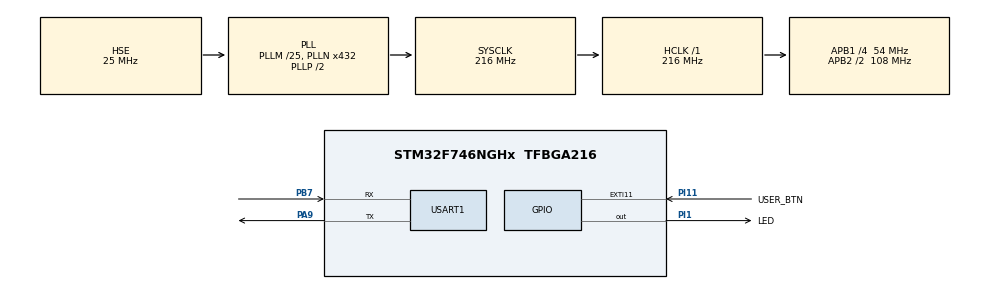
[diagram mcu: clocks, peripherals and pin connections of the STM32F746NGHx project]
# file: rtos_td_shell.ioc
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FREERTOS.Tasks01=defaultTask,0,128,StartDefaultTask,Default,NULL,Dynamic,NULL,NULL
FREERTOS.configCHECK_FOR_STACK_OVERFLOW=1
FREERTOS.configTOTAL_HEAP_SIZE=65535
Mcu.Family=STM32F7
Mcu.Name=STM32F746NGHx
Mcu.Package=TFBGA216
NVIC.PriorityGroup=NVIC_PRIORITYGROUP_4
NVIC.TIM6_DAC_IRQn=true\:15\:0\:false\:false\:true\:false\:false\:true\:true
NVIC.TimeBase=TIM6_DAC_IRQn
NVIC.TimeBaseIP=TIM6
NVIC.USART1_IRQn=true\:5\:0\:true\:false\:true\:true\:true\:true\:true
PA13.Mode=Serial_Wire
PA13.Signal=SYS_JTMS-SWDIO
PA14.Mode=Serial_Wire
PA14.Signal=SYS_JTCK-SWCLK
PA9.Mode=Asynchronous
PA9.Signal=USART1_TX
PB7.Mode=Asynchronous
PB7.Signal=USART1_RX
PH0/OSC_IN.Mode=HSE-External-Oscillator
PH0/OSC_IN.Signal=RCC_OSC_IN
PH1/OSC_OUT.Mode=HSE-External-Oscillator
PH1/OSC_OUT.Signal=RCC_OSC_OUT
PI1.GPIO_Label=LED
PI1.Signal=GPIO_Output
PI11.GPIO_Label=USER_BTN
PI11.Signal=GPXTI11
ProjectManager.HeapSize=0x200
ProjectManager.StackSize=0x400
ProjectManager.TargetToolchain=STM32CubeIDE
RCC.AHBFreq_Value=216000000
RCC.APB1CLKDivider=RCC_HCLK_DIV4
RCC.APB1Freq_Value=54000000
RCC.APB1TimFreq_Value=108000000
RCC.APB2CLKDivider=RCC_HCLK_DIV2
RCC.APB2Freq_Value=108000000
RCC.APB2TimFreq_Value=216000000
RCC.CortexFreq_Value=216000000
RCC.HCLKFreq_Value=216000000
RCC.HSE_VALUE=25000000
RCC.HSI_VALUE=16000000
RCC.LSE_VALUE=32768
RCC.PLLM=25
RCC.PLLN=432
RCC.PLLSourceVirtual=RCC_PLLSOURCE_HSE
RCC.SYSCLKFreq_VALUE=216000000
RCC.SYSCLKSource=RCC_SYSCLKSOURCE_PLLCLK
RCC.USBFreq_Value=216000000
RCC.VCOOutputFreq_Value=432000000
USART1.VirtualMode-Asynchronous=VM_ASYNC
VP_FREERTOS_VS_CMSIS_V1.Mode=CMSIS_V1
VP_SYS_VS_tim6.Mode=TIM6
board=STM32F746G-DISCO

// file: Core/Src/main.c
/* USER CODE BEGIN Header */
/**
 ******************************************************************************
 * @file           : main.c
 * @brief          : Main program body
 ******************************************************************************
 * @attention
 *
 * Copyright (c) 2022 STMicroelectronics.
 * All rights reserved.
 *
 * This software is licensed under terms that can be found in the LICENSE file
 * in the root directory of this software component.
 * If no LICENSE file comes with this software, it is provided AS-IS.
 *
 ******************************************************************************
 */
/* USER CODE END Header */
#include "main.h"
#include "cmsis_os.h"
#include "usart.h"
#include "gpio.h"

/* USER CODE BEGIN Includes */
#include <stdio.h>
#include "shell.h"
#include "FreeRTOS.h"
//#include <task.h>
/* USER CODE END Includes */

/* USER CODE BEGIN PTD */
SemaphoreHandle_t xSemaphoreUart;
SemaphoreHandle_t xSemaphoreLed;
SemaphoreHandle_t xSemaphoreSpam;
/* USER CODE END PTD */

/* USER CODE BEGIN PV */
int argT=0;
int nombre=0;
char* mot;
/* USER CODE END PV */

void SystemClock_Config(void);
void MX_FREERTOS_Init(void);

/* USER CODE BEGIN 0 */
int __io_putchar(int ch)
{
	HAL_UART_Transmit(&huart1, (uint8_t*)&ch, 1, HAL_MAX_DELAY);

	return ch;
}

int fonction(int argc, char ** argv)
{
	printf("Je suis une fonction bidon\r\n");
	printf("argc = %d\r\n", argc);

		for (int i = 0 ; i < argc ; i++)
		{
			printf("arg %d = %s\r\n", i, argv[i]);
		}
	return 0;
}

int fonctionLed(int argc, char ** argv)
{
	argT=atoi(argv[1]);
	printf("fonction led\r\n");
	printf("argc = %d\r\n", argc);
	printf("argT = %d\r\n", argT);
	if(argT==0){
		printf("yo");
		HAL_GPIO_WritePin(GPIOI, LED_Pin, RESET);
	}
	else {
		xSemaphoreGive(xSemaphoreLed);
	}
	return 0;
}

int fonctionSpam(int argc, char ** argv)
{
	mot=argv[1];
	nombre=atoi(argv[2]);
 printf("fonction Spam: mot nombre\r\n");
		xSemaphoreGive(xSemaphoreSpam);
		return 0;
}

void vTaskShell( void * pvParameters )
  {
	shell_init();
	shell_add('f', fonction, "Une fonction inutile");
	shell_add('l',fonctionLed,"fonction led");
	shell_add('s',fonctionSpam,"fonction spam");
	shell_run();
  }

void vTaskLed( void * pvParameters )
  {
	xSemaphoreTake(xSemaphoreLed ,portMAX_DELAY);
	for(;;){
		if(argT==0){HAL_GPIO_WritePin(GPIOI, LED_Pin, RESET);}
		else{
	HAL_GPIO_TogglePin(GPIOI, LED_Pin);
	vTaskDelay((1000/argT)/2);
	HAL_GPIO_TogglePin(GPIOI, LED_Pin);
	vTaskDelay((1000/argT)/2);
		}
	}
  }

void vTaskSpam( void * pvParameters )
  {
	xSemaphoreTake(xSemaphoreSpam ,portMAX_DELAY);
	int i;
	for(i=0;i<nombre;i++){
		printf("%s\r\n",mot);
		vTaskDelay(100);
	}
  }

void vApplicationStackOverflowHook( TaskHandle_t  xTask,
                                    signed char *pcTaskName ){
	printf("stack_overflow\r\n");
}

//void vTaskBidon1( void * pvParameters )
//  {
//	//int a[100000000];
//  }
//
//
//void vTaskBidon2( void * pvParameters )
//  {
//	printf("Je suis une fonction bidon1\r\n");
//  }
//
//
//void vTaskBidon3( void * pvParameters )
//  {
//	printf("Je suis une fonction bidon1\r\n");
//  }
//
//
//void vTaskBidon4( void * pvParameters )
//  {
//	printf("Je suis une fonction bidon1\r\n");
//  }
//
//
//void vTaskBidon5( void * pvParameters )
//  {
//	printf("Je suis une fonction bidon1\r\n");
//  }
//
//void vTaskBidon6( void * pvParameters )
//  {
//	printf("Je suis une fonction bidon1\r\n");
//  }
//
//void vTaskBidon7( void * pvParameters )
//  {
//	printf("Je suis une fonction bidon1\r\n");
//  }
//
//void vTaskBidon8( void * pvParameters )
//  {
//	printf("Je suis une fonction bidon1\r\n");
//  }
//
//void vTaskBidon9( void * pvParameters )
//  {
//	printf("Je suis une fonction bidon1\r\n");
//  }
//
//void vTaskBidon10( void * pvParameters )
//  {
//	printf("Je suis une fonction bidon1\r\n");
//  }

/* USER CODE END 0 */

int main(void)
{
  /* USER CODE BEGIN 1 */
	 BaseType_t xReturned;
	TaskHandle_t xHandle1 = NULL;
	TaskHandle_t xHandle2 = NULL;
	TaskHandle_t xHandle3 = NULL;
//	TaskHandle_t xHandle4 = NULL;
//	TaskHandle_t xHandle5 = NULL;
//	TaskHandle_t xHandle6 = NULL;
//	TaskHandle_t xHandle7 = NULL;
//	TaskHandle_t xHandle8 = NULL;
//	TaskHandle_t xHandle9 = NULL;
//	TaskHandle_t xHandle10 = NULL;
//	TaskHandle_t xHandle11 = NULL;
//	TaskHandle_t xHandle12 = NULL;
//	TaskHandle_t xHandle13 = NULL;

  /* USER CODE END 1 */

  /* MCU Configuration--------------------------------------------------------*/

  /* Reset of all peripherals, Initializes the Flash interface and the Systick. */
  HAL_Init();

  /* Configure the system clock */
  SystemClock_Config();

  /* Initialize all configured peripherals */
  MX_GPIO_Init();
  MX_USART1_UART_Init();
  /* USER CODE BEGIN 2 */
    xSemaphoreUart = xSemaphoreCreateBinary();
    xSemaphoreLed = xSemaphoreCreateBinary();
    xSemaphoreSpam = xSemaphoreCreateBinary();

    xReturned = xTaskCreate(
                                 vTaskShell,       /* Function that implements the task. */
                                 "TaskShell",          /* Text name for the task. */
                                 1024,      /* Stack size in words, not bytes. */
                                 ( void * ) 1,    /* Parameter passed into the task. */
                                 3,/* Priority at which the task is created. */
                                 &xHandle1 );

    xReturned = xTaskCreate(
                                    vTaskLed,       /* Function that implements the task. */
                                    "TaskLed",          /* Text name for the task. */
                                    1024,      /* Stack size in words, not bytes. */
                                    ( void * ) 1,    /* Parameter passed into the task. */
                                    2,/* Priority at which the task is created. */
                                    &xHandle2 );

    xReturned = xTaskCreate(
                                       vTaskSpam,       /* Function that implements the task. */
                                       "TaskSpam",          /* Text name for the task. */
                                       1024,      /* Stack size in words, not bytes. */
                                       ( void * ) 1,    /* Parameter passed into the task. */
                                       1,/* Priority at which the task is created. */
                                       &xHandle3 );
//    xReturned = xTaskCreate(
//                                        vTaskBidon1,       /* Function that implements the task. */
//                                        "TaskBidon1",          /* Text name for the task. */
//                                        1024,      /* Stack size in words, not bytes. */
//                                        ( void * ) 1,    /* Parameter passed into the task. */
//                                        1,/* Priority at which the task is created. */
//                                        &xHandle4 );
//
//    xReturned = xTaskCreate(
//                                            vTaskBidon2,       /* Function that implements the task. */
//                                            "TaskBidon2",          /* Text name for the task. */
//                                            65536,      /* Stack size in words, not bytes. */
//                                            ( void * ) 1,    /* Parameter passed into the task. */
//                                            1,/* Priority at which the task is created. */
//                                            &xHandle5 );
//    xReturned = xTaskCreate(
//                                            vTaskBidon3,       /* Function that implements the task. */
//                                            "TaskBidon3",          /* Text name for the task. */
//                                            65536,      /* Stack size in words, not bytes. */
//                                            ( void * ) 1,    /* Parameter passed into the task. */
//                                            1,/* Priority at which the task is created. */
//                                            &xHandle6 );
//    xReturned = xTaskCreate(
//                                            vTaskBidon4,       /* Function that implements the task. */
//                                            "TaskBidon4",          /* Text name for the task. */
//                                            65536,      /* Stack size in words, not bytes. */
//                                            ( void * ) 1,    /* Parameter passed into the task. */
//                                            1,/* Priority at which the task is created. */
//                                            &xHandle7 );
//    xReturned = xTaskCreate(
//                                            vTaskBidon5,       /* Function that implements the task. */
//                                            "TaskBidon5",          /* Text name for the task. */
//                                            65536,      /* Stack size in words, not bytes. */
//                                            ( void * ) 1,    /* Parameter passed into the task. */
//                                            1,/* Priority at which the task is created. */
//                                            &xHandle8 );
//    xReturned = xTaskCreate(
//                                            vTaskBidon6,       /* Function that implements the task. */
//                                            "TaskBidon6",          /* Text name for the task. */
//                                            65536,      /* Stack size in words, not bytes. */
//                                            ( void * ) 1,    /* Parameter passed into the task. */
//                                            1,/* Priority at which the task is created. */
//                                            &xHandle9 );
//
//        xReturned = xTaskCreate(
//                                                vTaskBidon7,       /* Function that implements the task. */
//                                                "TaskBidon7",          /* Text name for the task. */
//                                                1024,      /* Stack size in words, not bytes. */
//                                                ( void * ) 1,    /* Parameter passed into the task. */
//                                                1,/* Priority at which the task is created. */
//                                                &xHandle10 );
//        xReturned = xTaskCreate(
//                                                vTaskBidon8,       /* Function that implements the task. */
//                                                "TaskBidon8",          /* Text name for the task. */
//                                                1024,      /* Stack size in words, not bytes. */
//                                                ( void * ) 1,    /* Parameter passed into the task. */
//                                                1,/* Priority at which the task is created. */
//                                                &xHandle11 );
//        xReturned = xTaskCreate(
//                                                vTaskBidon9,       /* Function that implements the task. */
//                                                "TaskBidon9",          /* Text name for the task. */
//                                                1024,      /* Stack size in words, not bytes. */
//                                                ( void * ) 1,    /* Parameter passed into the task. */
//                                                1,/* Priority at which the task is created. */
//                                                &xHandle12 );
//        xReturned = xTaskCreate(
//                                                vTaskBidon10,       /* Function that implements the task. */
//                                                "TaskBidon10",          /* Text name for the task. */
//                                                1024,      /* Stack size in words, not bytes. */
//                                                ( void * ) 1,    /* Parameter passed into the task. */
//                                                1,/* Priority at which the task is created. */
//                                                &xHandle13 );

            configASSERT(xReturned==pdPASS);
            if(xReturned!=pdPASS){
            	Error_Handler();
            }

  /* USER CODE END 2 */

  /* Call init function for freertos objects (in freertos.c) */
  MX_FREERTOS_Init();

  /* Start scheduler */
  osKernelStart();

  /* We should never get here as control is now taken by the scheduler */
  /* Infinite loop */
	while (1)
	{

	}
}

void SystemClock_Config(void)
{
  RCC_OscInitTypeDef RCC_OscInitStruct = {0};
  RCC_ClkInitTypeDef RCC_ClkInitStruct = {0};

  /** Configure the main internal regulator output voltage
  */
  __HAL_RCC_PWR_CLK_ENABLE();
  __HAL_PWR_VOLTAGESCALING_CONFIG(PWR_REGULATOR_VOLTAGE_SCALE1);

  /** Initializes the RCC Oscillators according to the specified parameters
  * in the RCC_OscInitTypeDef structure.
  */
  RCC_OscInitStruct.OscillatorType = RCC_OSCILLATORTYPE_HSE;
  RCC_OscInitStruct.HSEState = RCC_HSE_ON;
  RCC_OscInitStruct.PLL.PLLState = RCC_PLL_ON;
  RCC_OscInitStruct.PLL.PLLSource = RCC_PLLSOURCE_HSE;
  RCC_OscInitStruct.PLL.PLLM = 25;
  RCC_OscInitStruct.PLL.PLLN = 432;
  RCC_OscInitStruct.PLL.PLLP = RCC_PLLP_DIV2;
  RCC_OscInitStruct.PLL.PLLQ = 2;
  if (HAL_RCC_OscConfig(&RCC_OscInitStruct) != HAL_OK)
  {
    Error_Handler();
  }

  /** Activate the Over-Drive mode
  */
  if (HAL_PWREx_EnableOverDrive() != HAL_OK)
  {
    Error_Handler();
  }

  /** Initializes the CPU, AHB and APB buses clocks
  */
  RCC_ClkInitStruct.ClockType = RCC_CLOCKTYPE_HCLK|RCC_CLOCKTYPE_SYSCLK
                              |RCC_CLOCKTYPE_PCLK1|RCC_CLOCKTYPE_PCLK2;
  RCC_ClkInitStruct.SYSCLKSource = RCC_SYSCLKSOURCE_PLLCLK;
  RCC_ClkInitStruct.AHBCLKDivider = RCC_SYSCLK_DIV1;
  RCC_ClkInitStruct.APB1CLKDivider = RCC_HCLK_DIV4;
  RCC_ClkInitStruct.APB2CLKDivider = RCC_HCLK_DIV2;

  if (HAL_RCC_ClockConfig(&RCC_ClkInitStruct, FLASH_LATENCY_7) != HAL_OK)
  {
    Error_Handler();
  }
}

void HAL_TIM_PeriodElapsedCallback(TIM_HandleTypeDef *htim)
{
  if (htim->Instance == TIM6) {
    HAL_IncTick();
  }
}

void Error_Handler(void)
{
	__disable_irq();
	while (1)
	{
	}
}

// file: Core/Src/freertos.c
/* USER CODE BEGIN Header */
/**
  ******************************************************************************
  * File Name          : freertos.c
  * Description        : Code for freertos applications
  ******************************************************************************
  * @attention
  *
  * Copyright (c) 2023 STMicroelectronics.
  * All rights reserved.
  *
  * This software is licensed under terms that can be found in the LICENSE file
  * in the root directory of this software component.
  * If no LICENSE file comes with this software, it is provided AS-IS.
  *
  ******************************************************************************
  */
/* USER CODE END Header */

#include "FreeRTOS.h"
#include "task.h"
#include "main.h"
#include "cmsis_os.h"

osThreadId defaultTaskHandle;

void StartDefaultTask(void const * argument);

void MX_FREERTOS_Init(void); /* (MISRA C 2004 rule 8.1) */

/* GetIdleTaskMemory prototype (linked to static allocation support) */
void vApplicationGetIdleTaskMemory( StaticTask_t **ppxIdleTaskTCBBuffer, StackType_t **ppxIdleTaskStackBuffer, uint32_t *pulIdleTaskStackSize );

/* Hook prototypes */
void vApplicationStackOverflowHook(xTaskHandle xTask, signed char *pcTaskName);

/* USER CODE BEGIN 4 */
__weak void vApplicationStackOverflowHook(xTaskHandle xTask, signed char *pcTaskName)
{
   /* Run time stack overflow checking is performed if
   configCHECK_FOR_STACK_OVERFLOW is defined to 1 or 2. This hook function is
   called if a stack overflow is detected. */
}
/* USER CODE END 4 */

/* USER CODE BEGIN GET_IDLE_TASK_MEMORY */
static StaticTask_t xIdleTaskTCBBuffer;
static StackType_t xIdleStack[configMINIMAL_STACK_SIZE];

void vApplicationGetIdleTaskMemory( StaticTask_t **ppxIdleTaskTCBBuffer, StackType_t **ppxIdleTaskStackBuffer, uint32_t *pulIdleTaskStackSize )
{
  *ppxIdleTaskTCBBuffer = &xIdleTaskTCBBuffer;
  *ppxIdleTaskStackBuffer = &xIdleStack[0];
  *pulIdleTaskStackSize = configMINIMAL_STACK_SIZE;
  /* place for user code */
}
/* USER CODE END GET_IDLE_TASK_MEMORY */

void MX_FREERTOS_Init(void) {

  /* Create the thread(s) */
  /* definition and creation of defaultTask */
  osThreadDef(defaultTask, StartDefaultTask, osPriorityNormal, 0, 128);
  defaultTaskHandle = osThreadCreate(osThread(defaultTask), NULL);

}

void StartDefaultTask(void const * argument)
{
  for(;;)
  {
    osDelay(1);
  }
}
